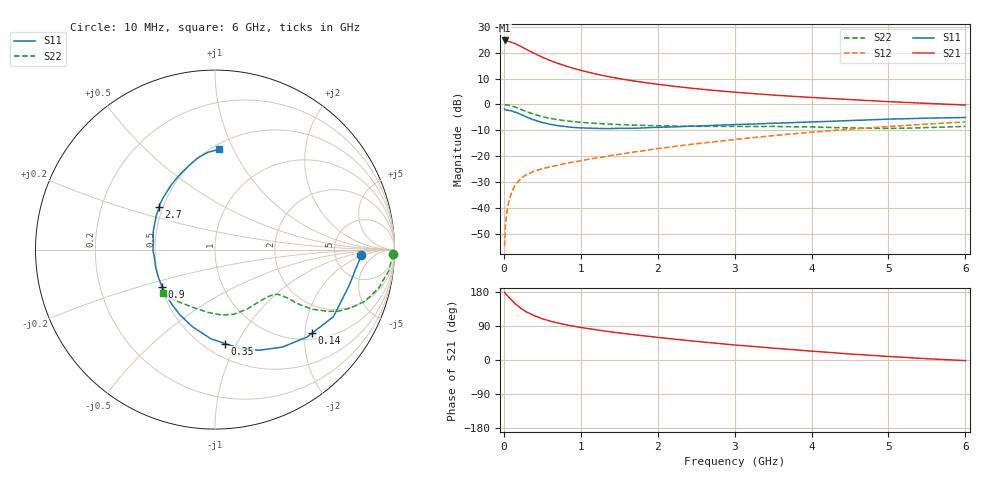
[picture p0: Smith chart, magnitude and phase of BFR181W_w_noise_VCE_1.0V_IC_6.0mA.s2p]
! Infineon Technologies  Discrete & RF Semiconductors
! BFR181W
! VCE =  1.0 V,  IC =  6.0 mA
! Common Emitter S-Parameters:  Jan 2017
# GHz  S  MA  R  50
!  f  S11  S21  S12  S22
! GHz  MAG  ANG  MAG  ANG  MAG  ANG  MAG  ANG
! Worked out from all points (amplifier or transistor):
!   77 points, 10 MHz to 6 GHz, reference 50 ohm
!   highest |S21| = 24.8 dB at 10 MHz (marker M1)
!   |S21| within 3 dB of that: start of sweep to 264.7 MHz
!   unconditionally stable (mu >= 1): 1.044 GHz to 3.379 GHz
!   at 130 MHz: K = 0.21, MSG = 28.0 dB, |S12| = -32.2 dB
!   at 2.2 GHz: K = 1.11, MAG = 9.7 dB, |S12| = -16.4 dB
!   at 6 GHz: K = 0.87, MSG = 3.3 dB, |S12| = -6.8 dB
!   lowest NFmin = 1.03 dB at 450 MHz
!   S11 on the Smith chart (normalised r, x): 10 MHz: 9.50, -1.86; 140 MHz: 1.15, -2.18; 350 MHz: 0.62, -0.90; 900 MHz: 0.51, -0.24; 2.7 GHz: 0.48, +0.27; 6 GHz: 0.54, +0.88
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0.01  0.816 -2.3  17.35 178.8  0.0018 87.3  0.9901 -1.4
0.02  0.7932 -7.3  17.08 175.6  0.0042 90.8  0.987 -2.7
0.05  0.7736 -15.0  16.87 168.9  0.0101 80.0  0.9754 -7.0
0.1  0.7583 -29.6  16.05 157.9  0.0193 75.9  0.9351 -13.5
0.14  0.7139 -40.6  15.16 150.3  0.0262 70.2  0.8931 -17.8
0.2  0.6606 -55.3  13.77 139.6  0.0338 65.1  0.8254 -23.1
0.25  0.6117 -66.5  12.62 132.3  0.0397 61.0  0.7707 -26.4
0.3  0.566 -76.2  11.5 126.1  0.0441 58.4  0.7191 -28.6
0.35  0.5265 -83.9  10.55 121.6  0.0477 57.0  0.6789 -29.9
0.4  0.4978 -92.6  9.679 116.3  0.0513 55.8  0.6392 -31.4
0.5  0.4477 -106.3  8.216 108.9  0.0567 53.9  0.5805 -32.7
0.6  0.4131 -118.1  7.124 102.8  0.062 54.2  0.5384 -33.3
0.7  0.3888 -128.0  6.253 97.7  0.0662 54.6  0.5068 -33.5
0.9  0.3588 -145.0  5.022 89.4  0.0764 55.8  0.4653 -34.2
1.1  0.3479 -158.5  4.203 82.8  0.0868 58.0  0.44 -34.9
1.5  0.3456 -179.2  3.168 71.5  0.1083 60.4  0.4078 -38.2
2.1  0.3632 158.7  2.353 57.5  0.1459 62.0  0.3842 -46.9
2.7  0.3912 142.7  1.89 45.4  0.1869 61.2  0.3761 -58.2
3.1  0.411 133.5  1.684 38.1  0.2167 59.7  0.3743 -65.9
4.1  0.4636 114.4  1.34 21.9  0.2975 53.9  0.363 -86.0
5.1  0.5236 99.5  1.116 8.2  0.3822 45.5  0.3449 -114.3
6  0.5589 88.0  0.974 -1.6  0.4583 36.5  0.3766 -139.7
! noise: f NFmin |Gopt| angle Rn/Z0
0.45  1.03  0.28  16  0.22
0.9  1.07  0.26  30  0.22
1.9  1.49  0.12  82  0.19
2.4  1.65  0.1  95  0.23
